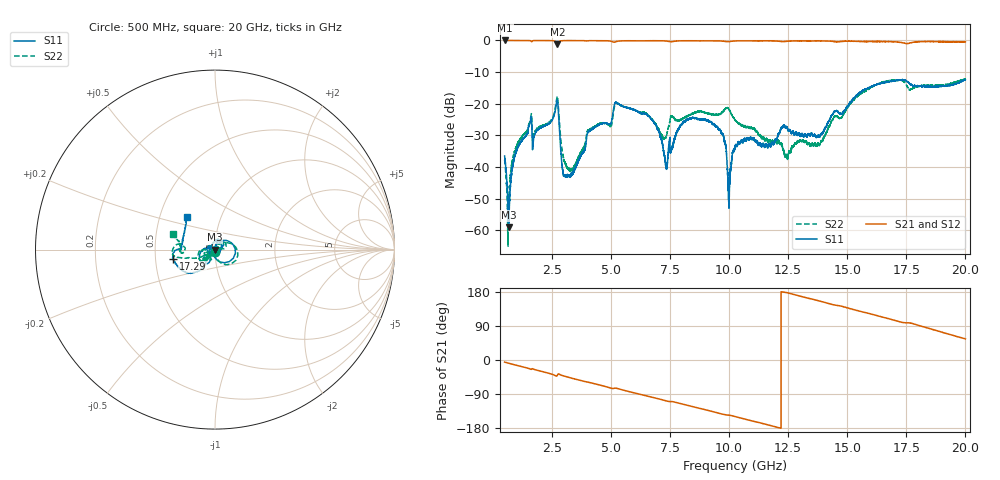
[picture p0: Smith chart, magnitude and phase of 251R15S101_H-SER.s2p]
!{251R15S101}
!Johanson Technology Inc.
!www.johansontechnology.com
!Test Board Conditions:
!Substrate Type  RO4350B
!Substrate Thickness  20 mil
!Substrate Dk  3.66
!TL Type: GCPW
!TL Trace Width  34 mil
!TL Gap  10 mil
!Electrode orientation  Horizontal
!DUT TOPOLOGY	SERIES
!Mounting Pad LxW  26x52 mil
! Created Thu Mar 12 16:46:15 2020
# mhz S ma R 50
! 2 Port Network Data from SP1.SP block
! freq  magS11  angS11  magS21  angS21  magS12  angS12  magS22  angS22
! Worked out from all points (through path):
!   19501 points, 500 MHz to 20 GHz, reference 50 ohm
!   highest |S21| = 0.00 dB at 523 MHz (marker M1); lowest = -1.1 dB at 2.734 GHz (marker M2)
!   group delay of S21, straight-line fit = 41.9 ps
!   lowest |S11| = -59.0 dB at 671 MHz (marker M3), VSWR 1.00, Z = 49.9 + j0.0209 ohm
!   |S11| at or under -10 dB: start of sweep to end of sweep
!   |S22| runs from -65.0 to -12.1 dB; largest |S21 - S12| = 0.02
!   S11 on the Smith chart (normalised r, x): 500 MHz: 1.00, -0.03; 17.29 GHz: 0.62, -0.07; 20 GHz: 0.69, +0.27
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500  0.01497 -97.5  0.9991 -5.5  0.9989 -5.5  0.01317 -94.4
523  0.01237 -99.2  0.9996 -5.9  0.9981 -5.9  0.01084 -94.3
671  0.001127 169.3  0.9985 -8.5  0.9988 -8.5  0.002527 61.1
842  0.01042 89.8  0.9983 -11.3  0.9985 -11.4  0.01341 70.5
1099  0.02178 83.1  0.9981 -15.5  0.9976 -15.5  0.0254 67.6
2734  0.1141 -22.8  0.8765 -40.0  0.8775 -40.1  0.131 -25.8
3038  0.007383 165.7  0.9931 -43.0  0.9928 -43.0  0.01203 -58.9
3334  0.007952 169.7  0.9952 -48.0  0.9945 -47.9  0.009013 -82.2
3750  0.01583 -146.6  0.9939 -54.5  0.994 -54.5  0.01784 -131.2
5237  0.105 -142.2  0.9613 -74.7  0.9612 -74.6  0.1019 -153.5
7000  0.03814 164.3  0.9888 -102.2  0.9912 -102.2  0.04084 -173.0
7329  0.01014 -157.7  0.9788 -107.7  0.9789 -107.7  0.02957 -127.9
8127  0.05258 83.3  0.9874 -118.0  0.9887 -118.0  0.06034 -134.3
9298  0.04856 47.1  0.9876 -136.0  0.9879 -136.0  0.06833 -136.1
9772  0.02958 -9.4  0.9709 -143.7  0.9723 -143.7  0.07738 -128.7
10006  0.003837 26.4  0.9596 -145.6  0.9615 -145.7  0.07982 -146.3
10250  0.02086 25.5  0.9822 -149.1  0.9818 -149.1  0.0553 -147.4
12421  0.04384 156.3  0.9675 178.0  0.9675 178.0  0.01474 110.2
13500  0.03392 165.3  0.9795 160.7  0.981 160.9  0.02388 -14.1
16750  0.2219 -152.4  0.9603 109.1  0.951 108.7  0.2314 -170.7
17289  0.237 -167.4  0.9295 99.6  0.9256 99.8  0.2347 179.0
20000  0.2399 130.7  0.9473 55.6  0.9428 55.7  0.2487 160.2
